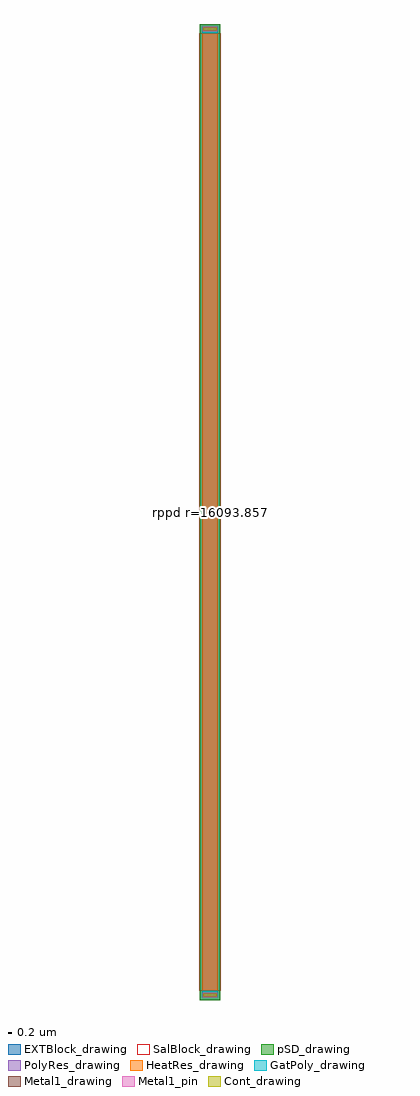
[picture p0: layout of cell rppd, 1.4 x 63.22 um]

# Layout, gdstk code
import gdstk
lib = gdstk.Library(unit=1e-6, precision=1e-09)
def R(c, l, rs):  # rectangles x0, y0, x1, y1
    for r in rs: c.add(gdstk.rectangle(r[:2], r[2:], *l))
GatPoly_drawing = (5, 0)
Cont_drawing = (6, 0)
Metal1_drawing = (8, 0)
Metal1_pin = (8, 2)
pSD_drawing = (14, 0)
SalBlock_drawing = (28, 0)
HeatRes_drawing = (52, 0)
EXTBlock_drawing = (111, 0)
PolyRes_drawing = (128, 0)

rppd = lib.new_cell('rppd')
R(rppd, GatPoly_drawing, [(0,-0.43,1,-0.2), (0,-0.2,1,0), (0,62,1,62.2), (0,62.2,1,62.43)])
R(rppd, Cont_drawing, [(0.07,-0.36,0.93,-0.2), (0.07,62.2,0.93,62.36)])
R(rppd, Metal1_drawing, [(0.02,-0.43,0.98,-0.13), (0.02,62.13,0.98,62.43)])
R(rppd, Metal1_pin, [(0.02,-0.43,0.98,-0.13), (0.02,62.13,0.98,62.43)])
R(rppd, pSD_drawing, [(-0.18,-0.61,1.18,0), (-0.18,0,1.18,62), (-0.18,62,1.18,62.61)])
R(rppd, SalBlock_drawing, [(-0.2,0,1.2,62)])
R(rppd, HeatRes_drawing, [(0,0,1,62)])
R(rppd, EXTBlock_drawing, [(-0.18,-0.61,1.18,0), (-0.2,0,1.2,62), (-0.18,62,1.18,62.61)])
R(rppd, PolyRes_drawing, [(0,0,1,62)])
rppd.add(gdstk.Label('rppd r=16093.857', (0.5,31), layer=63, texttype=0))
rppd.add(gdstk.Label('rppd', (0.5,31), layer=52, texttype=0))

lib.write_gds('rppd.gds')
